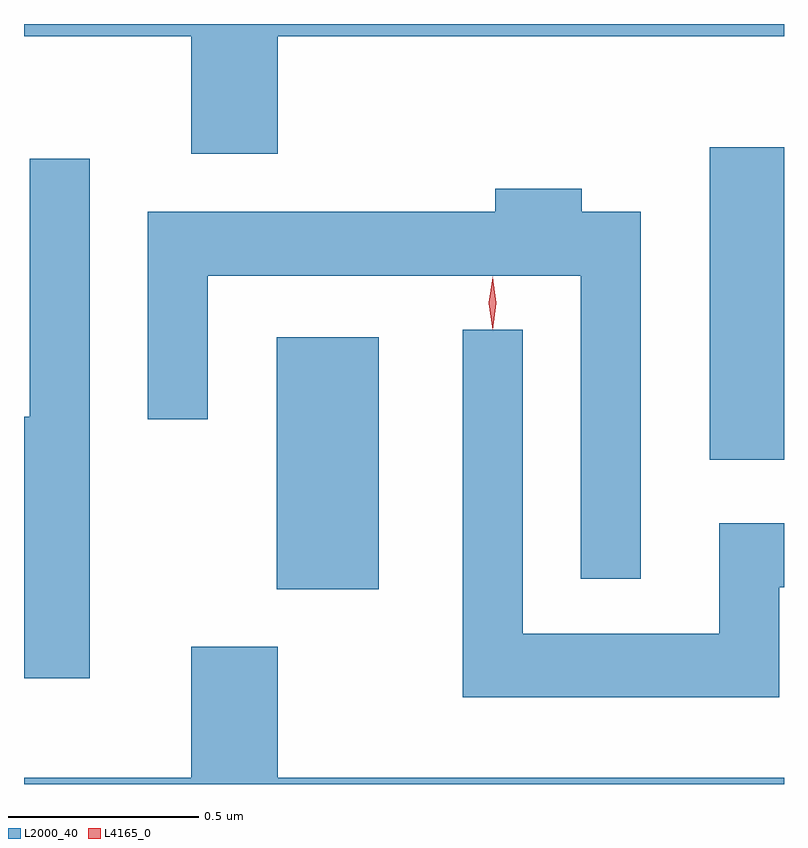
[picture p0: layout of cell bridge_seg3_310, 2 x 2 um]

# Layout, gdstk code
import gdstk
lib = gdstk.Library(unit=1e-6, precision=1e-09)
def R(c, l, rs):  # rectangles x0, y0, x1, y1
    for r in rs: c.add(gdstk.rectangle(r[:2], r[2:], *l))
def P(c, l, *ps):  # polygons
    for p in ps: c.add(gdstk.Polygon(p, *l))
L2000_40 = (2000, 40)
L4165_0 = (4165, 0)

bridge_seg3_310 = lib.new_cell('bridge_seg3_310')
R(bridge_seg3_310, L2000_40, [(581.936,1195.601,582.204,1196.264), (583.076,1195.941,583.271,1196.764)])
P(bridge_seg3_310, L2000_40, [(581.939,1197.056),(583.271,1197.056),(583.271,1197.088),(581.271,1197.088),(581.271,1197.056),(581.711,1197.056),(581.711,1196.746),(581.939,1196.746)],
  [(581.444,1196.733),(581.286,1196.733),(581.286,1196.054),(581.271,1196.054),(581.271,1195.366),(581.444,1195.366)],
  [(582.894,1196.594),(582.739,1196.594),(582.739,1196.654),(582.511,1196.654),(582.511,1196.594),(581.596,1196.594),(581.596,1196.048),(581.754,1196.048),(581.754,1196.426),(582.736,1196.426),(582.736,1195.628),(582.894,1195.628)],
  [(583.259,1195.606),(583.271,1195.606),(583.271,1195.774),(583.101,1195.774),(583.101,1195.484),(582.584,1195.484),(582.584,1196.283),(582.426,1196.283),(582.426,1195.316),(583.259,1195.316)],
  [(583.271,1195.104),(581.939,1195.104),(581.939,1195.449),(581.711,1195.449),(581.711,1195.104),(581.271,1195.104),(581.271,1195.088),(583.271,1195.088)])
P(bridge_seg3_310, L4165_0, [(582.504,1196.284),(582.504,1196.284),(582.494,1196.353),(582.504,1196.422),(582.504,1196.423),(582.505,1196.422),(582.514,1196.353),(582.505,1196.284)],
  [(582.504,1196.287),(582.504,1196.288),(582.494,1196.354),(582.504,1196.42),(582.504,1196.421),(582.505,1196.42),(582.514,1196.354),(582.505,1196.288)])

lib.write_gds('bridge_seg3_310.gds')
